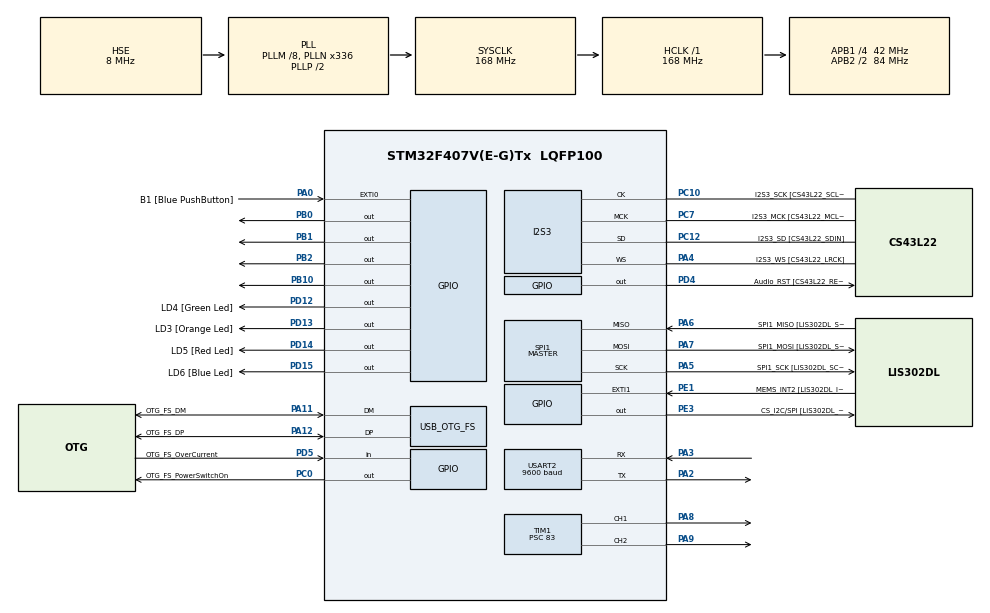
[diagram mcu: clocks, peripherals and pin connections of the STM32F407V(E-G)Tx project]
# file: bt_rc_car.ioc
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I2S3.AudioFreq-Half_Duplex_Master=I2S_AUDIOFREQ_96K
I2S3.ErrorAudioFreq=-2.34 %
I2S3.ErrorAudioFreq-Half_Duplex_Master=0.8 %
I2S3.FullDuplexMode=I2S_FULLDUPLEXMODE_DISABLE
I2S3.Instance=SPI$Index
I2S3.RealAudioFreq=93.75 KHz
I2S3.RealAudioFreq-Half_Duplex_Master=96.774 KHz
I2S3.VirtualMode=I2S_MODE_MASTER
Mcu.Family=STM32F4
Mcu.Name=STM32F407V(E-G)Tx
Mcu.Package=LQFP100
NVIC.OTG_FS_IRQn=true\:0\:0\:false\:false\:true\:true\:true\:true
NVIC.PriorityGroup=NVIC_PRIORITYGROUP_0
PA0-WKUP.GPIO_Label=B1 [Blue PushButton]
PA0-WKUP.GPIO_ModeDefaultEXTI=GPIO_MODE_EVT_RISING
PA0-WKUP.GPIO_PuPd=GPIO_NOPULL
PA0-WKUP.Signal=GPXTI0
PA10.GPIO_Label=OTG_FS_ID
PA10.GPIO_Mode=GPIO_MODE_AF_PP
PA10.GPIO_PuPd=GPIO_NOPULL
PA10.GPIO_Speed=GPIO_SPEED_FREQ_LOW
PA10.Signal=USB_OTG_FS_ID
PA11.GPIO_Label=OTG_FS_DM
PA11.GPIO_Mode=GPIO_MODE_AF_PP
PA11.GPIO_PuPd=GPIO_NOPULL
PA11.GPIO_Speed=GPIO_SPEED_FREQ_LOW
PA11.Mode=Host_Only
PA11.Signal=USB_OTG_FS_DM
PA12.GPIO_Label=OTG_FS_DP
PA12.GPIO_Mode=GPIO_MODE_AF_PP
PA12.GPIO_PuPd=GPIO_NOPULL
PA12.GPIO_Speed=GPIO_SPEED_FREQ_LOW
PA12.Mode=Host_Only
PA12.Signal=USB_OTG_FS_DP
PA13.GPIO_Label=SWDIO
PA13.Mode=Serial_Wire
PA13.Signal=SYS_JTMS-SWDIO
PA14.GPIO_Label=SWCLK
PA14.Mode=Serial_Wire
PA14.Signal=SYS_JTCK-SWCLK
PA2.Mode=Asynchronous
PA2.Signal=USART2_TX
PA3.Mode=Asynchronous
PA3.Signal=USART2_RX
PA4.GPIO_Label=I2S3_WS [CS43L22_LRCK]
PA4.GPIO_Mode=GPIO_MODE_AF_PP
PA4.GPIO_PuPd=GPIO_NOPULL
PA4.GPIO_Speed=GPIO_SPEED_FREQ_LOW
PA4.Mode=Half_Duplex_Master
PA4.Signal=I2S3_WS
PA5.GPIO_Label=SPI1_SCK [LIS302DL_SCL/SPC]
PA5.GPIO_Mode=GPIO_MODE_AF_PP
PA5.GPIO_PuPd=GPIO_NOPULL
PA5.GPIO_Speed=GPIO_SPEED_FREQ_LOW
PA5.Mode=Full_Duplex_Master
PA5.Signal=SPI1_SCK
PA6.GPIO_Label=SPI1_MISO [LIS302DL_SDO]
PA6.GPIO_Mode=GPIO_MODE_AF_PP
PA6.GPIO_PuPd=GPIO_NOPULL
PA6.GPIO_Speed=GPIO_SPEED_FREQ_LOW
PA6.Mode=Full_Duplex_Master
PA6.Signal=SPI1_MISO
PA7.GPIO_Label=SPI1_MOSI [LIS302DL_SDA/SDI/SDO]
PA7.GPIO_Mode=GPIO_MODE_AF_PP
PA7.GPIO_PuPd=GPIO_NOPULL
PA7.GPIO_Speed=GPIO_SPEED_FREQ_LOW
PA7.Mode=Full_Duplex_Master
PA7.Signal=SPI1_MOSI
PA8.Signal=S_TIM1_CH1
PA9.Signal=S_TIM1_CH2
PB0.Signal=GPIO_Output
PB1.Signal=GPIO_Output
PB10.Signal=GPIO_Output
PB2.Signal=GPIO_Output
PB3.GPIO_Label=SWO
PB3.Signal=SYS_JTDO-SWO
PB6.GPIO_Label=Audio_SCL [CS43L22_SCL]
PB6.GPIO_Mode=GPIO_MODE_AF_OD
PB6.GPIO_Pu=GPIO_PULLUP
PB6.GPIO_PuPd=GPIO_NOPULL
PB6.GPIO_Speed=GPIO_SPEED_FREQ_LOW
PB6.Signal=I2C1_SCL
PB9.GPIO_Label=Audio_SDA [CS43L22_SDA]
PB9.GPIO_Mode=GPIO_MODE_AF_OD
PB9.GPIO_Pu=GPIO_PULLUP
PB9.GPIO_PuPd=GPIO_NOPULL
PB9.GPIO_Speed=GPIO_SPEED_FREQ_LOW
PB9.Signal=I2C1_SDA
PC0.GPIO_Label=OTG_FS_PowerSwitchOn
PC0.GPIO_PuPd=GPIO_NOPULL
PC0.GPIO_Speed=GPIO_SPEED_FREQ_LOW
PC0.PinState=GPIO_PIN_SET
PC0.Signal=GPIO_Output
PC10.GPIO_Label=I2S3_SCK [CS43L22_SCLK]
PC10.GPIO_Mode=GPIO_MODE_AF_PP
PC10.GPIO_PuPd=GPIO_NOPULL
PC10.GPIO_Speed=GPIO_SPEED_FREQ_LOW
PC10.Mode=Half_Duplex_Master
PC10.Signal=I2S3_CK
PC12.GPIO_Label=I2S3_SD [CS43L22_SDIN]
PC12.GPIO_Mode=GPIO_MODE_AF_PP
PC12.GPIO_PuPd=GPIO_NOPULL
PC12.GPIO_Speed=GPIO_SPEED_FREQ_LOW
PC12.Mode=Half_Duplex_Master
PC12.Signal=I2S3_SD
PC14-OSC32_IN.GPIO_Label=PC14-OSC32_IN
PC14-OSC32_IN.Mode=LSE-External-Oscillator
PC14-OSC32_IN.Signal=RCC_OSC32_IN
PC15-OSC32_OUT.GPIO_Label=PC15-OSC32_OUT
PC15-OSC32_OUT.Mode=LSE-External-Oscillator
PC15-OSC32_OUT.Signal=RCC_OSC32_OUT
PC3.GPIO_Label=PDM_OUT [MP45DT02_DOUT]
PC3.GPIO_Mode=GPIO_MODE_AF_PP
PC3.GPIO_PuPd=GPIO_NOPULL
PC3.GPIO_Speed=GPIO_SPEED_FREQ_LOW
PC3.Signal=I2S2_SD
PC7.GPIO_Label=I2S3_MCK [CS43L22_MCLK]
PC7.GPIO_Mode=GPIO_MODE_AF_PP
PC7.GPIO_PuPd=GPIO_NOPULL
PC7.GPIO_Speed=GPIO_SPEED_FREQ_LOW
PC7.Mode=Master_Clock_Activated
PC7.Signal=I2S3_MCK
PD12.GPIO_Label=LD4 [Green Led]
PD12.GPIO_PuPd=GPIO_NOPULL
PD12.GPIO_Speed=GPIO_SPEED_FREQ_LOW
PD12.Signal=GPIO_Output
PD13.GPIO_Label=LD3 [Orange Led]
PD13.GPIO_PuPd=GPIO_NOPULL
PD13.GPIO_Speed=GPIO_SPEED_FREQ_LOW
PD13.Signal=GPIO_Output
PD14.GPIO_Label=LD5 [Red Led]
PD14.GPIO_PuPd=GPIO_NOPULL
PD14.GPIO_Speed=GPIO_SPEED_FREQ_LOW
PD14.Signal=GPIO_Output
PD15.GPIO_Label=LD6 [Blue Led]
PD15.GPIO_PuPd=GPIO_NOPULL
PD15.GPIO_Speed=GPIO_SPEED_FREQ_LOW
PD15.Signal=GPIO_Output
PD4.GPIO_Label=Audio_RST [CS43L22_RESET]
PD4.GPIO_PuPd=GPIO_NOPULL
PD4.GPIO_Speed=GPIO_SPEED_FREQ_LOW
PD4.Signal=GPIO_Output
PD5.GPIO_Label=OTG_FS_OverCurrent
PD5.GPIO_Mode=GPIO_MODE_INPUT
PD5.GPIO_PuPd=GPIO_NOPULL
PD5.Signal=GPIO_Input
PE1.GPIO_Label=MEMS_INT2 [LIS302DL_INT2]
PE1.GPIO_ModeDefaultEXTI=GPIO_MODE_EVT_RISING
PE1.GPIO_PuPd=GPIO_NOPULL
PE1.Signal=GPXTI1
PE3.GPIO_Label=CS_I2C/SPI [LIS302DL_CS_I2C/SPI]
PE3.GPIO_PuPd=GPIO_NOPULL
PE3.GPIO_Speed=GPIO_SPEED_FREQ_LOW
PE3.Signal=GPIO_Output
PH0-OSC_IN.GPIO_Label=PH0-OSC_IN
PH0-OSC_IN.Mode=HSE-External-Oscillator
PH0-OSC_IN.Signal=RCC_OSC_IN
PH1-OSC_OUT.GPIO_Label=PH1-OSC_OUT
PH1-OSC_OUT.Mode=HSE-External-Oscillator
PH1-OSC_OUT.Signal=RCC_OSC_OUT
ProjectManager.HeapSize=0x200
ProjectManager.StackSize=0x400
ProjectManager.TargetToolchain=STM32CubeIDE
RCC.48MHZClocksFreq_Value=48000000
RCC.AHBFreq_Value=168000000
RCC.APB1CLKDivider=RCC_HCLK_DIV4
RCC.APB1Freq_Value=42000000
RCC.APB1TimFreq_Value=84000000
RCC.APB2CLKDivider=RCC_HCLK_DIV2
RCC.APB2Freq_Value=84000000
RCC.APB2TimFreq_Value=168000000
RCC.CortexFreq_Value=168000000
RCC.HCLKFreq_Value=168000000
RCC.HSE_VALUE=8000000
RCC.HSI_VALUE=16000000
RCC.PLLM=8
RCC.PLLN=336
RCC.PLLQ=7
RCC.SYSCLKFreq_VALUE=168000000
RCC.SYSCLKSource=RCC_SYSCLKSOURCE_PLLCLK
RCC.VCOOutputFreq_Value=336000000
SH.S_TIM1_CH1.0=TIM1_CH1,PWM Generation1 CH1
SH.S_TIM1_CH2.0=TIM1_CH2,PWM Generation2 CH2
SPI1.BaudRatePrescaler-Full_Duplex_Master=SPI_BAUDRATEPRESCALER_2
SPI1.CalculateBaudRate-Full_Duplex_Master=42.0 MBits/s
SPI1.Direction=SPI_DIRECTION_2LINES
SPI1.Mode=SPI_MODE_MASTER
SPI1.Mode-Full_Duplex_Master=SPI_MODE_MASTER
SPI1.VirtualType=VM_MASTER
TIM1.Channel-PWM\ Generation1\ CH1=TIM_CHANNEL_1
TIM1.Channel-PWM\ Generation2\ CH2=TIM_CHANNEL_2
TIM1.OCMode_PWM-PWM\ Generation2\ CH2=TIM_OCMODE_PWM2
TIM1.Period=1000
TIM1.Prescaler=83
USART2.BaudRate=9600
USART2.VirtualMode=VM_ASYNC
USB_HOST.BSP.number=1
USB_HOST.USBH_HandleTypeDef-CDC_FS=hUsbHostFS
USB_HOST.VirtualModeFS=Cdc
USB_HOST0.BSP.STBoard=false
USB_HOST0.BSP.api=Unknown
USB_HOST0.BSP.instance=PC0
USB_HOST0.BSP.ip=GPIO
USB_HOST0.BSP.mode=Output
USB_HOST0.BSP.name=Drive_VBUS_FS
USB_HOST0.BSP.solution=PC0
USB_OTG_FS.VirtualMode=Host_Only
USB_OTG_FS.phy_itface=HCD_PHY_EMBEDDED
VP_TIM1_VS_ClockSourceINT.Mode=Internal
VP_USB_HOST_VS_USB_HOST_CDC_FS.Mode=CDC_FS
board=STM32F407G-DISC1

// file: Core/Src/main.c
/* USER CODE BEGIN Header */
/**
  ******************************************************************************
  * @file           : main.c
  * @brief          : Main program body
  ******************************************************************************
  * @attention
  *
  * Copyright (c) 2025 STMicroelectronics.
  * All rights reserved.
  *
  * This software is licensed under terms that can be found in the LICENSE file
  * in the root directory of this software component.
  * If no LICENSE file comes with this software, it is provided AS-IS.
  *
  ******************************************************************************
  */
/* USER CODE END Header */
#include "main.h"
#include "usb_host.h"

I2S_HandleTypeDef hi2s3;

SPI_HandleTypeDef hspi1;

TIM_HandleTypeDef htim1;

UART_HandleTypeDef huart2;

void SystemClock_Config(void);
static void MX_GPIO_Init(void);
static void MX_I2S3_Init(void);
static void MX_SPI1_Init(void);
static void MX_TIM1_Init(void);
static void MX_USART2_UART_Init(void);
void MX_USB_HOST_Process(void);

/* USER CODE BEGIN 0 */
uint8_t rx;

void SetSpeed(uint16_t speed)
{
    if (speed > 1000) speed = 1000;
    __HAL_TIM_SET_COMPARE(&htim1, TIM_CHANNEL_1, speed);
}

void Forward(uint16_t speed)
{
    HAL_GPIO_WritePin(GPIOB, GPIO_PIN_0, GPIO_PIN_SET);
    HAL_GPIO_WritePin(GPIOB, GPIO_PIN_1, GPIO_PIN_RESET);
    SetSpeed(speed);
}

void Backward(uint16_t speed)
{
    HAL_GPIO_WritePin(GPIOB, GPIO_PIN_0, GPIO_PIN_RESET);
    HAL_GPIO_WritePin(GPIOB, GPIO_PIN_1, GPIO_PIN_SET);
    SetSpeed(speed);
}

void StopMotors(void)
{
    HAL_GPIO_WritePin(GPIOB, GPIO_PIN_0, GPIO_PIN_RESET);
    HAL_GPIO_WritePin(GPIOB, GPIO_PIN_1, GPIO_PIN_RESET);
    SetSpeed(0);
}

/* USER CODE END 0 */

int main(void)
{

  /* MCU Configuration--------------------------------------------------------*/

  /* Reset of all peripherals, Initializes the Flash interface and the Systick. */
  HAL_Init();

  /* Configure the system clock */
  SystemClock_Config();

  /* Initialize all configured peripherals */
  MX_GPIO_Init();
  MX_I2S3_Init();
  MX_SPI1_Init();
  MX_USB_HOST_Init();
  MX_TIM1_Init();
  MX_USART2_UART_Init();
  /* USER CODE BEGIN 2 */
  // START PWM
  HAL_TIM_PWM_Start(&htim1, TIM_CHANNEL_1);

  // Set direction: FORWARD
  HAL_GPIO_WritePin(GPIOB, GPIO_PIN_0, GPIO_PIN_SET);   // IN1 = HIGH
  HAL_GPIO_WritePin(GPIOB, GPIO_PIN_1, GPIO_PIN_RESET); // IN2 = LOW

  // Full speed
  __HAL_TIM_SET_COMPARE(&htim1, TIM_CHANNEL_1, 1000);

  HAL_TIM_PWM_Start(&htim1, TIM_CHANNEL_1);
  StopMotors();

  /* USER CODE END 2 */

  /* Infinite loop */
  /* USER CODE BEGIN WHILE */
  while (1)
  {
      if (HAL_UART_Receive(&huart2, &rx, 1, 10) == HAL_OK)
      {
          if (rx == 'f') Forward(700);
          if (rx == 'b') Backward(700);
          if (rx == 's') StopMotors();
      }
  }

  /* USER CODE END 3 */
}

void SystemClock_Config(void)
{
  RCC_OscInitTypeDef RCC_OscInitStruct = {0};
  RCC_ClkInitTypeDef RCC_ClkInitStruct = {0};

  /** Configure the main internal regulator output voltage
  */
  __HAL_RCC_PWR_CLK_ENABLE();
  __HAL_PWR_VOLTAGESCALING_CONFIG(PWR_REGULATOR_VOLTAGE_SCALE1);

  /** Initializes the RCC Oscillators according to the specified parameters
  * in the RCC_OscInitTypeDef structure.
  */
  RCC_OscInitStruct.OscillatorType = RCC_OSCILLATORTYPE_HSE;
  RCC_OscInitStruct.HSEState = RCC_HSE_ON;
  RCC_OscInitStruct.PLL.PLLState = RCC_PLL_ON;
  RCC_OscInitStruct.PLL.PLLSource = RCC_PLLSOURCE_HSE;
  RCC_OscInitStruct.PLL.PLLM = 8;
  RCC_OscInitStruct.PLL.PLLN = 336;
  RCC_OscInitStruct.PLL.PLLP = RCC_PLLP_DIV2;
  RCC_OscInitStruct.PLL.PLLQ = 7;
  if (HAL_RCC_OscConfig(&RCC_OscInitStruct) != HAL_OK)
  {
    Error_Handler();
  }

  /** Initializes the CPU, AHB and APB buses clocks
  */
  RCC_ClkInitStruct.ClockType = RCC_CLOCKTYPE_HCLK|RCC_CLOCKTYPE_SYSCLK
                              |RCC_CLOCKTYPE_PCLK1|RCC_CLOCKTYPE_PCLK2;
  RCC_ClkInitStruct.SYSCLKSource = RCC_SYSCLKSOURCE_PLLCLK;
  RCC_ClkInitStruct.AHBCLKDivider = RCC_SYSCLK_DIV1;
  RCC_ClkInitStruct.APB1CLKDivider = RCC_HCLK_DIV4;
  RCC_ClkInitStruct.APB2CLKDivider = RCC_HCLK_DIV2;

  if (HAL_RCC_ClockConfig(&RCC_ClkInitStruct, FLASH_LATENCY_5) != HAL_OK)
  {
    Error_Handler();
  }
}

static void MX_I2S3_Init(void)
{

  hi2s3.Instance = SPI3;
  hi2s3.Init.Mode = I2S_MODE_MASTER_TX;
  hi2s3.Init.Standard = I2S_STANDARD_PHILIPS;
  hi2s3.Init.DataFormat = I2S_DATAFORMAT_16B;
  hi2s3.Init.MCLKOutput = I2S_MCLKOUTPUT_ENABLE;
  hi2s3.Init.AudioFreq = I2S_AUDIOFREQ_96K;
  hi2s3.Init.CPOL = I2S_CPOL_LOW;
  hi2s3.Init.ClockSource = I2S_CLOCK_PLL;
  hi2s3.Init.FullDuplexMode = I2S_FULLDUPLEXMODE_DISABLE;
  if (HAL_I2S_Init(&hi2s3) != HAL_OK)
  {
    Error_Handler();
  }

}

static void MX_SPI1_Init(void)
{

  /* SPI1 parameter configuration*/
  hspi1.Instance = SPI1;
  hspi1.Init.Mode = SPI_MODE_MASTER;
  hspi1.Init.Direction = SPI_DIRECTION_2LINES;
  hspi1.Init.DataSize = SPI_DATASIZE_8BIT;
  hspi1.Init.CLKPolarity = SPI_POLARITY_LOW;
  hspi1.Init.CLKPhase = SPI_PHASE_1EDGE;
  hspi1.Init.NSS = SPI_NSS_SOFT;
  hspi1.Init.BaudRatePrescaler = SPI_BAUDRATEPRESCALER_2;
  hspi1.Init.FirstBit = SPI_FIRSTBIT_MSB;
  hspi1.Init.TIMode = SPI_TIMODE_DISABLE;
  hspi1.Init.CRCCalculation = SPI_CRCCALCULATION_DISABLE;
  hspi1.Init.CRCPolynomial = 10;
  if (HAL_SPI_Init(&hspi1) != HAL_OK)
  {
    Error_Handler();
  }

}

static void MX_TIM1_Init(void)
{

  TIM_ClockConfigTypeDef sClockSourceConfig = {0};
  TIM_MasterConfigTypeDef sMasterConfig = {0};
  TIM_OC_InitTypeDef sConfigOC = {0};
  TIM_BreakDeadTimeConfigTypeDef sBreakDeadTimeConfig = {0};

  htim1.Instance = TIM1;
  htim1.Init.Prescaler = 83;
  htim1.Init.CounterMode = TIM_COUNTERMODE_UP;
  htim1.Init.Period = 1000;
  htim1.Init.ClockDivision = TIM_CLOCKDIVISION_DIV1;
  htim1.Init.RepetitionCounter = 0;
  htim1.Init.AutoReloadPreload = TIM_AUTORELOAD_PRELOAD_DISABLE;
  if (HAL_TIM_Base_Init(&htim1) != HAL_OK)
  {
    Error_Handler();
  }
  sClockSourceConfig.ClockSource = TIM_CLOCKSOURCE_INTERNAL;
  if (HAL_TIM_ConfigClockSource(&htim1, &sClockSourceConfig) != HAL_OK)
  {
    Error_Handler();
  }
  if (HAL_TIM_PWM_Init(&htim1) != HAL_OK)
  {
    Error_Handler();
  }
  sMasterConfig.MasterOutputTrigger = TIM_TRGO_RESET;
  sMasterConfig.MasterSlaveMode = TIM_MASTERSLAVEMODE_DISABLE;
  if (HAL_TIMEx_MasterConfigSynchronization(&htim1, &sMasterConfig) != HAL_OK)
  {
    Error_Handler();
  }
  sConfigOC.OCMode = TIM_OCMODE_PWM1;
  sConfigOC.Pulse = 0;
  sConfigOC.OCPolarity = TIM_OCPOLARITY_HIGH;
  sConfigOC.OCNPolarity = TIM_OCNPOLARITY_HIGH;
  sConfigOC.OCFastMode = TIM_OCFAST_DISABLE;
  sConfigOC.OCIdleState = TIM_OCIDLESTATE_RESET;
  sConfigOC.OCNIdleState = TIM_OCNIDLESTATE_RESET;
  if (HAL_TIM_PWM_ConfigChannel(&htim1, &sConfigOC, TIM_CHANNEL_1) != HAL_OK)
  {
    Error_Handler();
  }
  sConfigOC.OCMode = TIM_OCMODE_PWM2;
  if (HAL_TIM_PWM_ConfigChannel(&htim1, &sConfigOC, TIM_CHANNEL_2) != HAL_OK)
  {
    Error_Handler();
  }
  sBreakDeadTimeConfig.OffStateRunMode = TIM_OSSR_DISABLE;
  sBreakDeadTimeConfig.OffStateIDLEMode = TIM_OSSI_DISABLE;
  sBreakDeadTimeConfig.LockLevel = TIM_LOCKLEVEL_OFF;
  sBreakDeadTimeConfig.DeadTime = 0;
  sBreakDeadTimeConfig.BreakState = TIM_BREAK_DISABLE;
  sBreakDeadTimeConfig.BreakPolarity = TIM_BREAKPOLARITY_HIGH;
  sBreakDeadTimeConfig.AutomaticOutput = TIM_AUTOMATICOUTPUT_DISABLE;
  if (HAL_TIMEx_ConfigBreakDeadTime(&htim1, &sBreakDeadTimeConfig) != HAL_OK)
  {
    Error_Handler();
  }
  HAL_TIM_MspPostInit(&htim1);

}

static void MX_USART2_UART_Init(void)
{

  huart2.Instance = USART2;
  huart2.Init.BaudRate = 9600;
  huart2.Init.WordLength = UART_WORDLENGTH_8B;
  huart2.Init.StopBits = UART_STOPBITS_1;
  huart2.Init.Parity = UART_PARITY_NONE;
  huart2.Init.Mode = UART_MODE_TX_RX;
  huart2.Init.HwFlowCtl = UART_HWCONTROL_NONE;
  huart2.Init.OverSampling = UART_OVERSAMPLING_16;
  if (HAL_UART_Init(&huart2) != HAL_OK)
  {
    Error_Handler();
  }

}

static void MX_GPIO_Init(void)
{
  GPIO_InitTypeDef GPIO_InitStruct = {0};

  /* GPIO Ports Clock Enable */
  __HAL_RCC_GPIOE_CLK_ENABLE();
  __HAL_RCC_GPIOC_CLK_ENABLE();
  __HAL_RCC_GPIOH_CLK_ENABLE();
  __HAL_RCC_GPIOA_CLK_ENABLE();
  __HAL_RCC_GPIOB_CLK_ENABLE();
  __HAL_RCC_GPIOD_CLK_ENABLE();

  /*Configure GPIO pin Output Level */
  HAL_GPIO_WritePin(CS_I2C_SPI_GPIO_Port, CS_I2C_SPI_Pin, GPIO_PIN_RESET);

  /*Configure GPIO pin Output Level */
  HAL_GPIO_WritePin(OTG_FS_PowerSwitchOn_GPIO_Port, OTG_FS_PowerSwitchOn_Pin, GPIO_PIN_SET);

  /*Configure GPIO pin Output Level */
  HAL_GPIO_WritePin(GPIOB, GPIO_PIN_0|GPIO_PIN_1|GPIO_PIN_2|GPIO_PIN_10, GPIO_PIN_RESET);

  /*Configure GPIO pin Output Level */
  HAL_GPIO_WritePin(GPIOD, LD4_Pin|LD3_Pin|LD5_Pin|LD6_Pin
                          |Audio_RST_Pin, GPIO_PIN_RESET);

  /*Configure GPIO pin : CS_I2C_SPI_Pin */
  GPIO_InitStruct.Pin = CS_I2C_SPI_Pin;
  GPIO_InitStruct.Mode = GPIO_MODE_OUTPUT_PP;
  GPIO_InitStruct.Pull = GPIO_NOPULL;
  GPIO_InitStruct.Speed = GPIO_SPEED_FREQ_LOW;
  HAL_GPIO_Init(CS_I2C_SPI_GPIO_Port, &GPIO_InitStruct);

  /*Configure GPIO pin : OTG_FS_PowerSwitchOn_Pin */
  GPIO_InitStruct.Pin = OTG_FS_PowerSwitchOn_Pin;
  GPIO_InitStruct.Mode = GPIO_MODE_OUTPUT_PP;
  GPIO_InitStruct.Pull = GPIO_NOPULL;
  GPIO_InitStruct.Speed = GPIO_SPEED_FREQ_LOW;
  HAL_GPIO_Init(OTG_FS_PowerSwitchOn_GPIO_Port, &GPIO_InitStruct);

  /*Configure GPIO pin : PDM_OUT_Pin */
  GPIO_InitStruct.Pin = PDM_OUT_Pin;
  GPIO_InitStruct.Mode = GPIO_MODE_AF_PP;
  GPIO_InitStruct.Pull = GPIO_NOPULL;
  GPIO_InitStruct.Speed = GPIO_SPEED_FREQ_LOW;
  GPIO_InitStruct.Alternate = GPIO_AF5_SPI2;
  HAL_GPIO_Init(PDM_OUT_GPIO_Port, &GPIO_InitStruct);

  /*Configure GPIO pin : B1_Pin */
  GPIO_InitStruct.Pin = B1_Pin;
  GPIO_InitStruct.Mode = GPIO_MODE_EVT_RISING;
  GPIO_InitStruct.Pull = GPIO_NOPULL;
  HAL_GPIO_Init(B1_GPIO_Port, &GPIO_InitStruct);

  /*Configure GPIO pins : PB0 PB1 PB2 PB10 */
  GPIO_InitStruct.Pin = GPIO_PIN_0|GPIO_PIN_1|GPIO_PIN_2|GPIO_PIN_10;
  GPIO_InitStruct.Mode = GPIO_MODE_OUTPUT_PP;
  GPIO_InitStruct.Pull = GPIO_NOPULL;
  GPIO_InitStruct.Speed = GPIO_SPEED_FREQ_LOW;
  HAL_GPIO_Init(GPIOB, &GPIO_InitStruct);

  /*Configure GPIO pins : LD4_Pin LD3_Pin LD5_Pin LD6_Pin
                           Audio_RST_Pin */
  GPIO_InitStruct.Pin = LD4_Pin|LD3_Pin|LD5_Pin|LD6_Pin
                          |Audio_RST_Pin;
  GPIO_InitStruct.Mode = GPIO_MODE_OUTPUT_PP;
  GPIO_InitStruct.Pull = GPIO_NOPULL;
  GPIO_InitStruct.Speed = GPIO_SPEED_FREQ_LOW;
  HAL_GPIO_Init(GPIOD, &GPIO_InitStruct);

  /*Configure GPIO pin : OTG_FS_OverCurrent_Pin */
  GPIO_InitStruct.Pin = OTG_FS_OverCurrent_Pin;
  GPIO_InitStruct.Mode = GPIO_MODE_INPUT;
  GPIO_InitStruct.Pull = GPIO_NOPULL;
  HAL_GPIO_Init(OTG_FS_OverCurrent_GPIO_Port, &GPIO_InitStruct);

  /*Configure GPIO pins : Audio_SCL_Pin Audio_SDA_Pin */
  GPIO_InitStruct.Pin = Audio_SCL_Pin|Audio_SDA_Pin;
  GPIO_InitStruct.Mode = GPIO_MODE_AF_OD;
  GPIO_InitStruct.Pull = GPIO_PULLUP;
  GPIO_InitStruct.Speed = GPIO_SPEED_FREQ_LOW;
  GPIO_InitStruct.Alternate = GPIO_AF4_I2C1;
  HAL_GPIO_Init(GPIOB, &GPIO_InitStruct);

  /*Configure GPIO pin : MEMS_INT2_Pin */
  GPIO_InitStruct.Pin = MEMS_INT2_Pin;
  GPIO_InitStruct.Mode = GPIO_MODE_EVT_RISING;
  GPIO_InitStruct.Pull = GPIO_NOPULL;
  HAL_GPIO_Init(MEMS_INT2_GPIO_Port, &GPIO_InitStruct);

}

void Error_Handler(void)
{
  __disable_irq();
  while (1)
  {
  }
}
